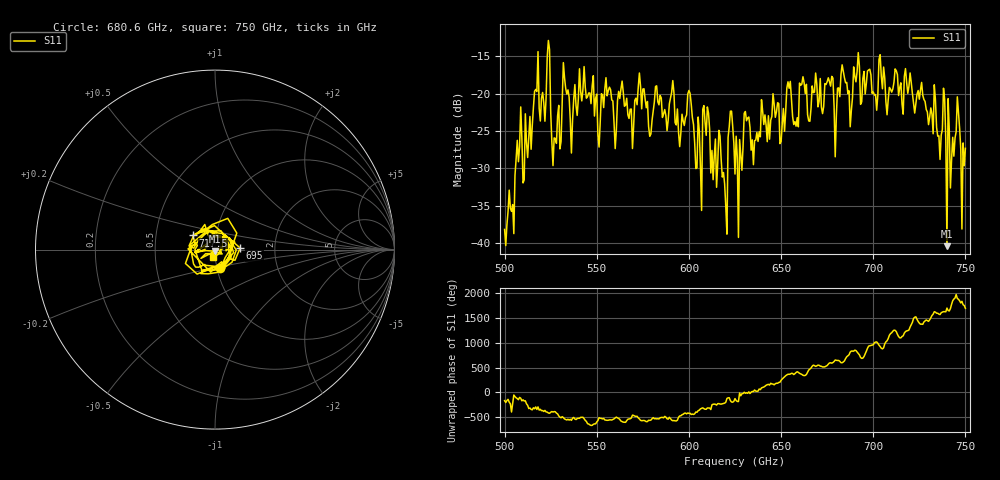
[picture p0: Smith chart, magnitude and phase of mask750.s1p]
!Created with skrf (http://scikit-rf.org).
# GHz S MA R 50.0
!freq magS11 angS11
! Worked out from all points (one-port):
!   401 points, 500 GHz to 750 GHz, reference 50 ohm
!   lowest |S11| = -40.4 dB at 740 GHz (marker M1), VSWR 1.02, Z = 49.8 - j0.938 ohm
!   |S11| at or under -10 dB: start of sweep to end of sweep
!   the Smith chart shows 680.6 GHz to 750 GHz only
!   S11 on the Smith chart (normalised r, x): 680.6 GHz: 1.03, -0.22; 695 GHz: 1.33, +0.02; 717.5 GHz: 0.77, +0.12; 750 GHz: 0.98, -0.08
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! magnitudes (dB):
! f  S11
! 500 GHz  -38.2
! 516.9 GHz  -19.4
! 520.6 GHz  -19.9
! 523.8 GHz  -12.9
! 526.9 GHz  -25.9
! 531.2 GHz  -21.3
! 562.5 GHz  -20.7
! 579.4 GHz  -25.4
! 590.6 GHz  -19.8
! 593.8 GHz  -22.1
! 600.6 GHz  -20.0
! 605.6 GHz  -25.0
! 609.4 GHz  -25.6
! 619.4 GHz  -32.1
! 622.5 GHz  -22.4
! 625 GHz  -30.8
! 627.5 GHz  -26.2
! 631.2 GHz  -23.6
! 656.2 GHz  -23.1
! 676.9 GHz  -19.0
! 680.6 GHz  -19.3
! 683.8 GHz  -17.1
! 687.5 GHz  -24.4
! 695 GHz  -17.0
! 717.5 GHz  -16.7
! 718.8 GHz  -20.0
! 740 GHz  -40.4
! 750 GHz  -27.3
